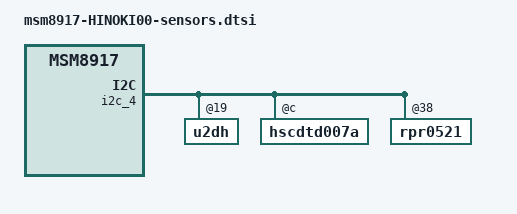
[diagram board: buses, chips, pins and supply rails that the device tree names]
/* Copyright (c) 2017, The Linux Foundation. All rights reserved.
 *
 * This program is free software; you can redistribute it and/or modify
 * it under the terms of the GNU General Public License version 2 and
 * only version 2 as published by the Free Software Foundation.
 *
 * This program is distributed in the hope that it will be useful,
 * but WITHOUT ANY WARRANTY; without even the implied warranty of
 * MERCHANTABILITY or FITNESS FOR A PARTICULAR PURPOSE.  See the
 * GNU General Public License for more details.
 */
/*
 * This software is contributed or developed by KYOCERA Corporation.
 * (C) 2019 KYOCERA Corporation
 */

#include "msm8917-common-sensors.dtsi"

&i2c_4 { /* BLSP1 QUP4 */
	status = "ok";

	u2dh@19 { /* Accelerometer sensor */
		status = "ok";
	};

	hscdtd007a@c { /* Geomagnetic sensor */
		status = "ok";
	};

	rpr0521@38 { /* Ambient light and proximity sensor */
		status = "ok";
	};

};
